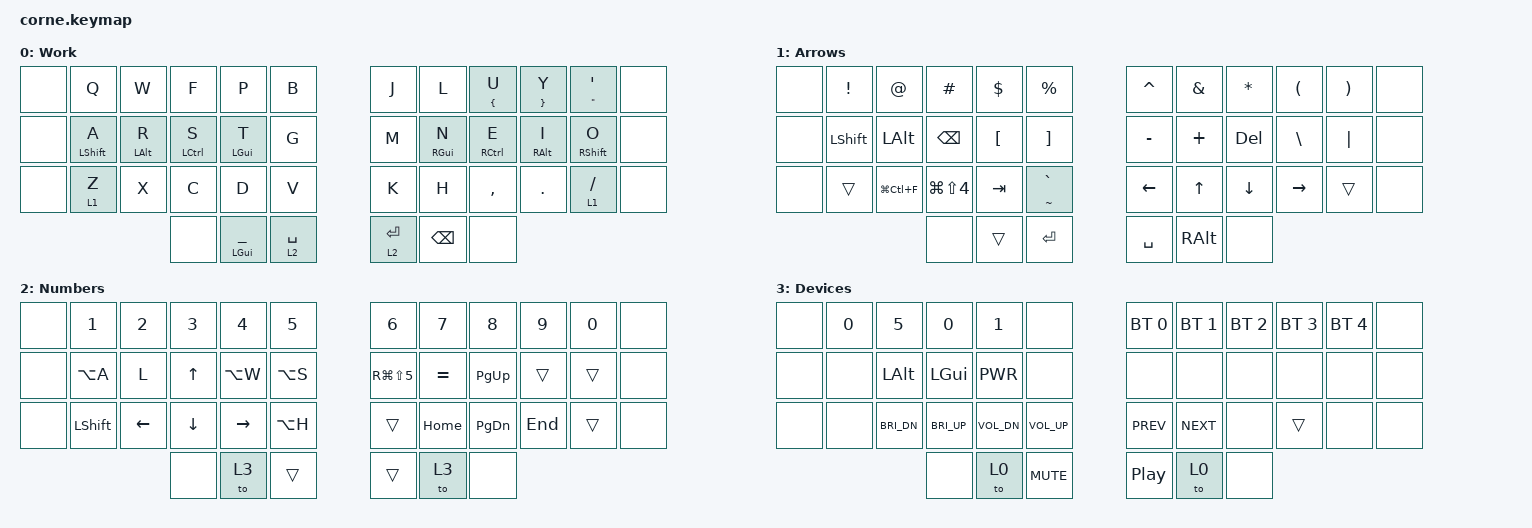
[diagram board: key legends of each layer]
/*
 * Copyright (c) 2020 The ZMK Contributors
 *
 * SPDX-License-Identifier: MIT
 */

#include <behaviors.dtsi>
#include <dt-bindings/zmk/keys.h>
#include <dt-bindings/zmk/bt.h>

#define Work     0
#define Arrows   1
#define Numbers  2
#define Devices  3


/ {
        combos {
        compatible = "zmk,combos";
        combo_COLON {
            timeout-ms = <50>;
            key-positions = <9 10>;
            bindings = <&kp COLON>;
                    };
        combo_SEMI {
            timeout-ms = <50>;
            key-positions = <8 9>;
            bindings = <&kp SEMI>;
        };
        combo_ESC {
            timeout-ms = <50>;
            key-positions = <2 3>;
            bindings = <&kp ESC>;
        };
        combo_CAPS {
            timeout-ms = <100>;
            key-positions = <1 2>;
            bindings = <&kp CAPS>;
        };
};
behaviors {
         hm: homerow_mods {
            compatible = "zmk,behavior-hold-tap";
            label = "HOMEROW_MODS";
            #binding-cells = <2>;
            tapping-term-ms = <200>;
            quick_tap_ms = <0>;
            flavor = "tap-preferred";
            bindings = <&kp>, <&kp>;
        };
        td: tapdance {
            compatible = "zmk,behavior-hold-tap";
            label = "TAPDANCE";
            #binding-cells = <2>;
            tapping-term-ms = <150>;
            quick_tap_ms = <0>;
            flavor = "tap-preferred";
            bindings = <&kp>, <&kp>;
        };
};

        keymap {
                compatible = "zmk,keymap";

                Work {
                        bindings = <
   &none       &kp Q           &kp W        &kp F           &kp P           &kp B                   &kp J        &kp L         &td LBRC U     &td RBRC Y    &td DQT SQT     &none
   &none       &hm LSHFT A     &hm LALT R   &hm LCTRL S     &hm LGUI T      &kp G                   &kp M        &hm RGUI N    &hm RCTRL E    &hm RALT I    &hm RSHFT O     &none
   &none       &lt 1 Z         &kp X        &kp C           &kp D           &kp V                   &kp K        &kp H         &kp COMMA      &kp DOT       &lt 1 FSLH      &none
                                            &none           &mt LGUI UNDER  &lt 2 SPACE             &lt 2 RET    &kp BSPC      &none
                         
                        >;
                };
                Arrows {
                        bindings = <
   &none      &kp EXCL          &kp AT        &kp HASH        &kp DLLR  &kp PRCNT         &kp CARET  &kp AMPS  &kp STAR    &kp LPAR    &kp RPAR   &none
   &none      &kp LSHFT         &kp LALT      &kp BSPC        &kp LBKT  &kp RBKT          &kp MINUS  &kp PLUS  &kp DEL     &kp BSLH    &kp PIPE   &none
   &none      &trans            &kp LG(LC(F)) &kp LG(LS(N4))  &kp TAB   &td TILDE GRAVE   &kp LEFT   &kp UP    &kp DOWN    &kp RIGHT   &trans     &none
                                              &none           &trans    &kp RET           &kp SPACE  &kp RALT &none
                        >;
                };

                Numbers {
                        bindings = <
   &none     &kp N1     &kp N2      &kp N3     &kp N4      &kp N5         &kp N6           &kp N7     &kp N8    &kp N9      &kp N0   &none
   &none     &kp LA(A)  &kp L       &kp UP     &kp LA(W)   &kp LA(S)      &kp RG(LS(N5))   &kp EQUAL  &kp PG_UP &trans      &trans   &none
   &none     &kp LSHFT  &kp LEFT    &kp DOWN   &kp RIGHT   &kp LA(H)      &trans           &kp HOME   &kp PG_DN &kp END     &trans   &none
                                    &none      &to 3       &trans         &trans     &to 3      &none
                        >;
                };

		Devices {
			bindings = <
   &none     &kp N0    &kp N5           &kp N0         &kp N1          &none                  &bt BT_SEL 0      &bt BT_SEL 1     &bt BT_SEL 2    &bt BT_SEL 3    &bt BT_SEL 4   &none
   &none     &none     &kp LALT         &kp LGUI       &kp C_PWR       &none                  &none             &none            &none           &none           &none          &none
   &none     &none     &kp C_BRI_DN     &kp C_BRI_UP   &kp C_VOL_DN    &kp C_VOL_UP           &kp C_PREV        &kp C_NEXT       &none           &trans          &none          &none
                                        &none          &to 0           &kp C_MUTE             &kp C_PP          &to 0            &none
			>;
		};
        };
};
